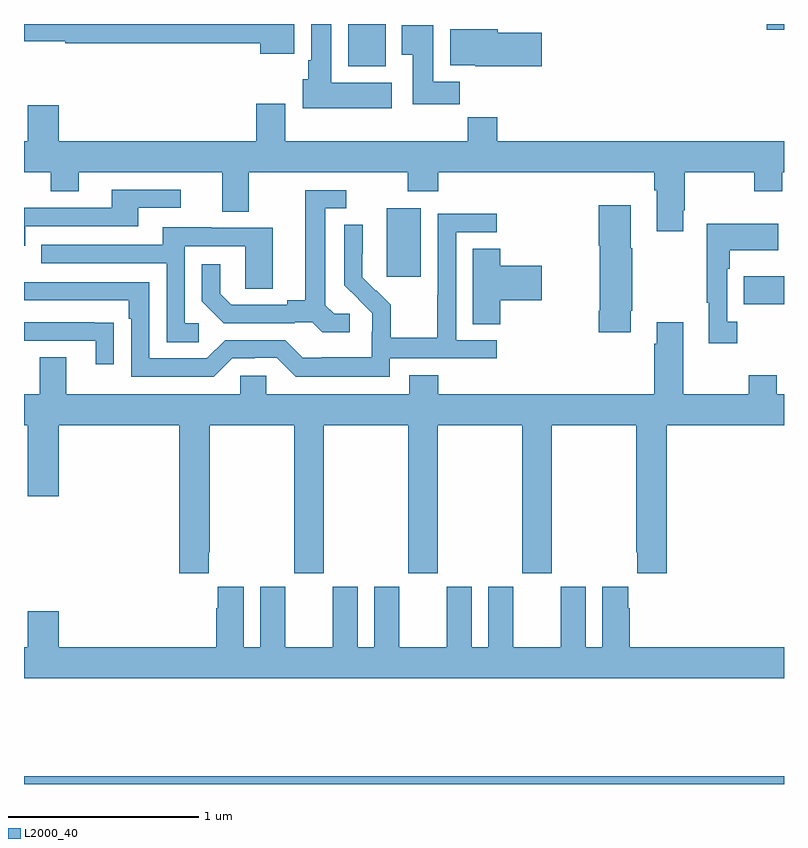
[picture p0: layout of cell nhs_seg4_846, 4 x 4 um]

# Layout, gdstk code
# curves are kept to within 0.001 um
import gdstk
lib = gdstk.Library(unit=1e-6, precision=1e-09)
def R(c, l, rs):  # rectangles x0, y0, x1, y1
    for r in rs: c.add(gdstk.rectangle(r[:2], r[2:], *l))
def P(c, l, *ps):  # polygons
    for p in ps: c.add(gdstk.Polygon(p, *l))
L2000_40 = (2000, 40)

nhs_seg4_846 = lib.new_cell('nhs_seg4_846')
R(nhs_seg4_846, L2000_40, [(153,826.9,157,826.94), (156.787,829.426,157,829.573), (154.91,829.569,155.089,829.93), (154.706,830.678,154.903,830.9), (156.908,830.87,157,830.9)])
P(nhs_seg4_846, L2000_40, [(154.936,830.59),(154.618,830.59),(154.618,830.9),(154.511,830.9),(154.511,830.71),(154.496,830.71),(154.496,830.61),(154.466,830.61),(154.466,830.456),(154.936,830.456)],
  [(154.423,830.9),(153,830.9),(153,830.808),(153.217,830.808),(153.217,830.8),(154.244,830.8),(154.244,830.744),(154.423,830.744)],
  [(155.294,830.596),(155.155,830.596),(155.155,830.893),(154.988,830.893),(154.988,830.737),(155.045,830.737),(155.045,830.478),(155.294,830.478)],
  [(155.725,830.855),(155.494,830.855),(155.494,830.872),(155.243,830.872),(155.243,830.684),(155.376,830.684),(155.376,830.678),(155.725,830.678)],
  [(156.469,829.921),(156.477,829.921),(156.477,830.12),(156.844,830.12),(156.844,830.021),(156.99,830.021),(156.99,830.12),(157,830.12),(157,830.284),(155.492,830.284),(155.492,830.408),(155.335,830.408),(155.335,830.284),(154.375,830.284),(154.375,830.479),(154.223,830.479),(154.223,830.284),(153.184,830.284),(153.184,830.473),(153.02,830.473),(153.02,830.284),(153,830.284),(153,830.12),(153.142,830.12),(153.142,830.021),(153.289,830.021),(153.289,830.12),(154.043,830.12),(154.043,829.912),(154.183,829.912),(154.183,830.12),(155.02,830.12),(155.02,830.021),(155.18,830.021),(155.18,830.12),(156.317,830.12),(156.317,830.024),(156.329,830.024),(156.329,829.809),(156.469,829.809)],
  [(153.006,829.836),(153.601,829.836),(153.601,829.932),(153.826,829.932),(153.826,830.028),(153.461,830.028),(153.461,829.932),(153,829.932),(153,829.733),(153.006,829.733)],
  [(154.714,829.374),(154.632,829.374),(154.585,829.421),(154.585,829.929),(154.696,829.929),(154.696,830.025),(154.481,830.025),(154.481,829.445),(154.385,829.445),(154.385,829.422),(154.09,829.422),(154.033,829.479),(154.033,829.636),(153.936,829.636),(153.936,829.442),(154.052,829.326),(154.424,829.326),(154.424,829.329),(154.518,829.329),(154.57,829.277),(154.714,829.277)],
  [(156.193,829.39),(156.201,829.39),(156.201,829.721),(156.193,829.721),(156.193,829.945),(156.026,829.945),(156.026,829.732),(156.031,829.732),(156.031,829.39),(156.026,829.39),(156.026,829.278),(156.193,829.278)],
  [(154.926,829.14),(155.488,829.14),(155.488,829.236),(155.274,829.236),(155.274,829.803),(155.488,829.803),(155.488,829.902),(155.178,829.902),(155.178,829.472),(155.176,829.472),(155.176,829.249),(154.931,829.249),(154.931,829.423),(154.854,829.5),(154.851,829.497),(154.781,829.568),(154.782,829.844),(154.686,829.844),(154.686,829.526),(154.832,829.378),(154.832,829.281),(154.83,829.281),(154.83,829.147),(154.567,829.147),(154.567,829.143),(154.467,829.143),(154.374,829.236),(154.059,829.236),(153.963,829.14),(153.66,829.14),(153.66,829.542),(153,829.542),(153,829.446),(153.551,829.446),(153.551,829.349),(153.564,829.349),(153.564,829.044),(153.999,829.044),(154.095,829.14),(154.214,829.14),(154.214,829.143),(154.329,829.143),(154.429,829.043),(154.926,829.043)],
  [(156.754,829.334),(156.702,829.334),(156.702,829.613),(156.715,829.613),(156.715,829.709),(156.971,829.709),(156.971,829.849),(156.594,829.849),(156.594,829.433),(156.605,829.433),(156.605,829.221),(156.754,829.221)],
  [(153.919,829.326),(153.846,829.326),(153.846,829.731),(154.164,829.731),(154.164,829.507),(154.309,829.507),(154.309,829.827),(153.985,829.827),(153.985,829.831),(153.731,829.831),(153.731,829.737),(153.091,829.737),(153.091,829.641),(153.75,829.641),(153.75,829.225),(153.919,829.225)],
  [(155.507,829.445),(155.725,829.445),(155.725,829.628),(155.507,829.628),(155.507,829.718),(155.363,829.718),(155.363,829.321),(155.507,829.321)],
  [(153.973,828.121),(153.978,828.121),(153.978,828.788),(154.423,828.788),(154.423,828.009),(154.578,828.009),(154.578,828.788),(155.023,828.788),(155.023,828.009),(155.178,828.009),(155.178,828.788),(155.623,828.788),(155.623,828.009),(155.778,828.009),(155.778,828.788),(156.223,828.788),(156.223,828.121),(156.227,828.121),(156.227,828.009),(156.383,828.009),(156.383,828.788),(157,828.788),(157,828.952),(156.961,828.952),(156.961,829.051),(156.814,829.051),(156.814,828.952),(156.469,828.952),(156.469,829.33),(156.329,829.33),(156.329,829.217),(156.317,829.217),(156.317,828.952),(155.18,828.952),(155.18,829.051),(155.027,829.051),(155.027,828.952),(154.275,828.952),(154.275,829.05),(154.137,829.05),(154.137,828.952),(153.223,828.952),(153.223,829.147),(153.083,829.147),(153.083,828.952),(153,828.952),(153,828.788),(153.02,828.788),(153.02,828.414),(153.184,828.414),(153.184,828.788),(153.818,828.788),(153.818,828.009),(153.973,828.009)],
  [(153.473,829.328),(153.371,829.328),(153.371,829.329),(153,829.329),(153,829.233),(153.377,829.233),(153.377,829.11),(153.473,829.11)],
  [(157,827.62),(156.188,827.62),(156.188,827.825),(156.181,827.825),(156.181,827.938),(156.044,827.938),(156.044,827.62),(155.956,827.62),(155.956,827.938),(155.825,827.938),(155.825,827.62),(155.575,827.62),(155.575,827.938),(155.444,827.938),(155.444,827.62),(155.356,827.62),(155.356,827.938),(155.225,827.938),(155.225,827.62),(154.975,827.62),(154.975,827.938),(154.844,827.938),(154.844,827.62),(154.756,827.62),(154.756,827.938),(154.625,827.938),(154.625,827.62),(154.375,827.62),(154.375,827.938),(154.244,827.938),(154.244,827.62),(154.156,827.62),(154.156,827.938),(154.019,827.938),(154.019,827.825),(154.013,827.825),(154.013,827.62),(153.184,827.62),(153.184,827.809),(153.02,827.809),(153.02,827.62),(153,827.62),(153,827.456),(157,827.456)])

lib.write_gds('nhs_seg4_846.gds')
